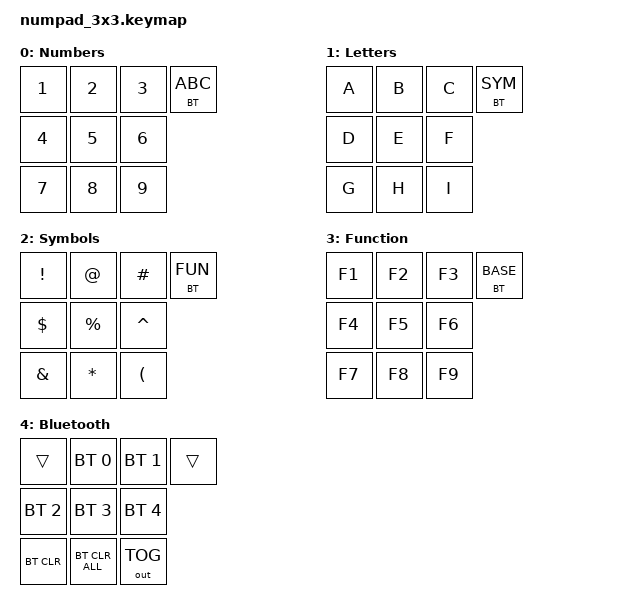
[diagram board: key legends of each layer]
#include <behaviors.dtsi>
#include <dt-bindings/zmk/keys.h>
#include <dt-bindings/zmk/bt.h>
#include <dt-bindings/zmk/outputs.h>

#define BASE 0
#define ABC  1
#define SYM  2
#define FUN  3
#define BT   4

/ {
    behaviors {
        layer_ht: layer_hold_tap {
            compatible = "zmk,behavior-hold-tap";
            #binding-cells = <2>;
            flavor = "tap-preferred";
            tapping-term-ms = <200>;
            quick-tap-ms = <150>;
            bindings = <&mo>, <&to>;
        };
    };

    combos {
        compatible = "zmk,combos";
        studio_unlock_combo {
            timeout-ms = <200>;
            key-positions = <3 6>; // 3+6 (numbers) or C+F (letters)
            bindings = <&studio_unlock>;
        };
    };

    keymap {
        compatible = "zmk,keymap";

        default_layer {
            display-name = "Numbers";
            bindings = <
                &kp N1   &kp N2   &kp N3
                &kp N4   &kp N5   &kp N6
                &kp N7   &kp N8   &kp N9
                &layer_ht BT ABC
            >;
        };

        letters_layer {
            display-name = "Letters";
            bindings = <
                &kp A    &kp B    &kp C
                &kp D    &kp E    &kp F
                &kp G    &kp H    &kp I
                &layer_ht BT SYM
            >;
        };

        symbols_layer {
            display-name = "Symbols";
            bindings = <
                &kp EXCL   &kp AT     &kp HASH
                &kp DLLR   &kp PRCNT  &kp CARET
                &kp AMPS   &kp STAR   &kp LPAR
                &layer_ht BT FUN
            >;
        };

        function_layer {
            display-name = "Function";
            bindings = <
                &kp F1   &kp F2   &kp F3
                &kp F4   &kp F5   &kp F6
                &kp F7   &kp F8   &kp F9
                &layer_ht BT BASE
            >;
        };

        bluetooth_layer {
            display-name = "Bluetooth";
            bindings = <
                &trans
                &bt BT_SEL 0    &bt BT_SEL 1    &bt BT_SEL 2
                &bt BT_SEL 3    &bt BT_SEL 4    &bt BT_CLR
                &bt BT_CLR_ALL  &out OUT_TOG    &trans
            >;
        };

    };
};
